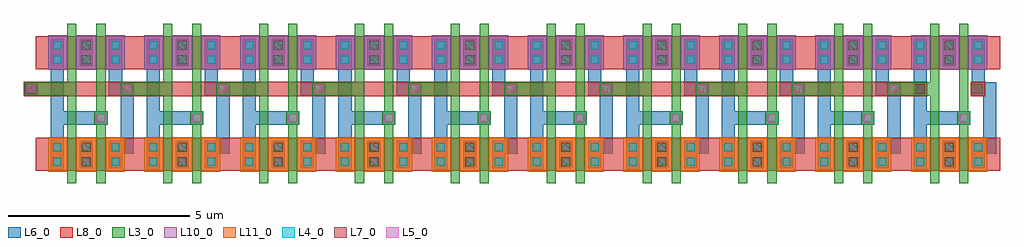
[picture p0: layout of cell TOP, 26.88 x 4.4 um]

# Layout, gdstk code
import gdstk
lib = gdstk.Library(unit=1e-6, precision=1e-09)
def R(c, l, rs):  # rectangles x0, y0, x1, y1
    for r in rs: c.add(gdstk.rectangle(r[:2], r[2:], *l))
def P(c, l, *ps):  # polygons
    for p in ps: c.add(gdstk.Polygon(p, *l))
L3_0 = (3, 0)
L4_0 = (4, 0)
L5_0 = (5, 0)
L6_0 = (6, 0)
L7_0 = (7, 0)
L8_0 = (8, 0)
L10_0 = (10, 0)
L11_0 = (11, 0)

trans = lib.new_cell('TRANS')

d_pmos = lib.new_cell('D$PMOS')

d_pmos_1 = lib.new_cell('D$PMOS$1')

d_nmos = lib.new_cell('D$NMOS')

d_nmos_1 = lib.new_cell('D$NMOS$1')

inv2 = lib.new_cell('INV2')
inv2.add(gdstk.Reference(trans, (-0.4,0)))
inv2.add(gdstk.Reference(trans, (-0.4,2.8)))
inv2.add(gdstk.Reference(trans, (0.4,0), x_reflection=True))
inv2.add(gdstk.Reference(trans, (0.4,2.8), x_reflection=True))
inv2.add(gdstk.Reference(d_pmos, (-0.4,2.8)))
inv2.add(gdstk.Reference(d_pmos_1, (0.4,2.8)))
inv2.add(gdstk.Reference(d_nmos, (-0.4,0)))
inv2.add(gdstk.Reference(d_nmos_1, (0.4,0)))

circuit_trans = lib.new_cell('CIRCUIT_TRANS')
R(circuit_trans, L3_0, [(-0.125,-0.8,0.125,0.8)])

device_d_pmos_1 = lib.new_cell('DEVICE_D$PMOS$1')
R(device_d_pmos_1, L3_0, [(-0.125,-0.475,0.125,0.475)])

device_d_nmos_1 = lib.new_cell('DEVICE_D$NMOS$1')
R(device_d_nmos_1, L3_0, [(-0.125,-0.475,0.125,0.475)])

circuit_trans_1 = lib.new_cell('CIRCUIT_TRANS$1')
R(circuit_trans_1, L4_0, [(-0.51,-0.31,-0.29,-0.09), (-0.51,0.09,-0.29,0.31)])
R(circuit_trans_1, L6_0, [(-0.58,-0.38,-0.22,0.38)])

device_d_pmos = lib.new_cell('DEVICE_D$PMOS')
R(device_d_pmos, L10_0, [(-0.65,-0.475,-0.125,0.475)])

device_d_nmos = lib.new_cell('DEVICE_D$NMOS')
R(device_d_nmos, L11_0, [(-0.65,-0.475,-0.125,0.475)])

circuit_inv2 = lib.new_cell('CIRCUIT_INV2')
R(circuit_inv2, L3_0, [(0.275,-0.8,0.525,0.8), (0.275,-0.25,0.525,2.25), (0.22,0.82,0.58,1.18), (0.275,2,0.525,3.6)])
R(circuit_inv2, L4_0, [(-0.91,-0.31,-0.69,-0.09), (-0.91,0.09,-0.69,0.31), (-0.91,2.49,-0.69,2.71), (-0.91,2.89,-0.69,3.11)])
R(circuit_inv2, L5_0, [(0.29,0.89,0.51,1.11)])
R(circuit_inv2, L6_0, [(-0.98,-0.42,-0.62,2.42), (-0.98,-0.38,-0.62,0.38), (-0.8,0.82,0.58,1.18), (-0.98,2.42,-0.62,3.18)])
R(circuit_inv2, L10_0, [(-1.05,2.325,-0.525,3.275)])
R(circuit_inv2, L11_0, [(-1.05,-0.475,-0.525,0.475)])
circuit_inv2.add(gdstk.Reference(circuit_trans, (0.4,2.8), x_reflection=True))
circuit_inv2.add(gdstk.Reference(device_d_pmos_1, (0.4,2.8)))
circuit_inv2.add(gdstk.Reference(circuit_trans, (0.4,0), x_reflection=True))
circuit_inv2.add(gdstk.Reference(device_d_nmos_1, (0.4,0)))
circuit_inv2.add(gdstk.Reference(circuit_trans_1, (-0.4,2.8)))
circuit_inv2.add(gdstk.Reference(device_d_pmos, (-0.4,2.8)))
circuit_inv2.add(gdstk.Reference(circuit_trans_1, (-0.4,0)))
circuit_inv2.add(gdstk.Reference(device_d_nmos, (-0.4,0)))

device_d_nmos_2 = lib.new_cell('DEVICE_D$NMOS$2')
R(device_d_nmos_2, L3_0, [(-0.125,-0.475,0.125,0.475)])

device_d_pmos_2 = lib.new_cell('DEVICE_D$PMOS$2')
R(device_d_pmos_2, L3_0, [(-0.125,-0.475,0.125,0.475)])

circuit_inv2_1 = lib.new_cell('CIRCUIT_INV2$1')
R(circuit_inv2_1, L3_0, [(-0.525,-0.8,-0.275,0.8), (-0.525,-0.25,-0.275,2.25), (-1.7,1.62,-0.4,1.98), (-0.525,2,-0.275,3.6)])
R(circuit_inv2_1, L5_0, [(-1.63,1.69,-1.41,1.91)])
circuit_inv2_1.add(gdstk.Reference(circuit_trans, (-0.4,0)))
circuit_inv2_1.add(gdstk.Reference(device_d_nmos_2, (-0.4,0)))
circuit_inv2_1.add(gdstk.Reference(circuit_trans, (-0.4,2.8)))
circuit_inv2_1.add(gdstk.Reference(device_d_pmos_2, (-0.4,2.8)))

circuit_trans_2 = lib.new_cell('CIRCUIT_TRANS$2')
R(circuit_trans_2, L4_0, [(0.29,-0.31,0.51,-0.09), (0.29,0.09,0.51,0.31)])
R(circuit_trans_2, L6_0, [(0.22,-0.38,0.58,0.38)])

device_d_pmos_1_1 = lib.new_cell('DEVICE_D$PMOS$1$1')
R(device_d_pmos_1_1, L10_0, [(0.125,-0.475,0.65,0.475)])

device_d_nmos_1_1 = lib.new_cell('DEVICE_D$NMOS$1$1')
R(device_d_nmos_1_1, L11_0, [(0.125,-0.475,0.65,0.475)])

circuit_inv2_2 = lib.new_cell('CIRCUIT_INV2$2')
R(circuit_inv2_2, L4_0, [(0.69,-0.31,0.91,-0.09), (0.69,0.09,0.91,0.31), (0.69,2.49,0.91,2.71), (0.69,2.89,0.91,3.11)])
R(circuit_inv2_2, L6_0, [(0.62,-0.38,0.98,0.38), (0.62,2.42,0.98,3.18)])
P(circuit_inv2_2, L6_0, [(0.8,0.02),(0.8,0.38),(0.94,0.38),(0.94,1.62),(0.62,1.62),(0.62,2.42),(0.98,2.42),(0.98,1.98),(1.3,1.98),(1.3,0.02)])
R(circuit_inv2_2, L10_0, [(0.525,2.325,1.05,3.275)])
R(circuit_inv2_2, L11_0, [(0.525,-0.475,1.05,0.475)])
circuit_inv2_2.add(gdstk.Reference(circuit_trans_2, (0.4,2.8), x_reflection=True))
circuit_inv2_2.add(gdstk.Reference(device_d_pmos_1_1, (0.4,2.8)))
circuit_inv2_2.add(gdstk.Reference(circuit_trans_2, (0.4,0), x_reflection=True))
circuit_inv2_2.add(gdstk.Reference(device_d_nmos_1_1, (0.4,0)))

net_fb_osc = lib.new_cell('NET_FB,OSC')
R(net_fb_osc, L6_0, [(-1.7,1.62,-1.34,1.98)])
R(net_fb_osc, L7_0, [(-1.645,1.675,-1.395,1.925), (22.835,1.675,23.085,1.925), (24.435,1.675,24.685,1.925)])
R(net_fb_osc, L8_0, [(-1.72,1.6,23.16,2), (24.36,1.6,24.76,2)])
net_fb_osc.add(gdstk.Reference(circuit_inv2, (23.76,0)))
net_fb_osc.add(gdstk.Reference(circuit_inv2_1, (0,0)))
net_fb_osc.add(gdstk.Reference(circuit_inv2_2, (23.76,0)))

device_d_nmos_3 = lib.new_cell('DEVICE_D$NMOS$3')
R(device_d_nmos_3, L11_0, [(0.125,-0.475,0.675,0.475)])

device_d_nmos_1_2 = lib.new_cell('DEVICE_D$NMOS$1$2')
R(device_d_nmos_1_2, L11_0, [(-0.675,-0.475,-0.125,0.475)])

circuit_inv2_3 = lib.new_cell('CIRCUIT_INV2$3')
R(circuit_inv2_3, L4_0, [(-0.11,-0.31,0.11,-0.09), (-0.11,-0.31,0.11,-0.09), (-0.11,0.09,0.11,0.31), (-0.11,0.09,0.11,0.31)])
R(circuit_inv2_3, L6_0, [(-0.18,-0.38,0.18,0.38), (-0.18,-0.38,0.18,0.38)])
R(circuit_inv2_3, L7_0, [(-0.125,-0.325,0.125,-0.075), (-0.125,0.075,0.125,0.325)])
R(circuit_inv2_3, L8_0, [(-1.4,-0.45,1.4,0.45)])
R(circuit_inv2_3, L11_0, [(-0.275,-0.475,0.275,0.475)])
circuit_inv2_3.add(gdstk.Reference(circuit_trans_2, (-0.4,0)))
circuit_inv2_3.add(gdstk.Reference(circuit_trans_1, (0.4,0), x_reflection=True))
circuit_inv2_3.add(gdstk.Reference(device_d_nmos_3, (-0.4,0)))
circuit_inv2_3.add(gdstk.Reference(device_d_nmos_1_2, (0.4,0)))

device_d_pmos_3 = lib.new_cell('DEVICE_D$PMOS$3')
R(device_d_pmos_3, L10_0, [(0.125,-0.475,0.675,0.475)])

device_d_pmos_1_2 = lib.new_cell('DEVICE_D$PMOS$1$2')
R(device_d_pmos_1_2, L10_0, [(-0.675,-0.475,-0.125,0.475)])

circuit_inv2_4 = lib.new_cell('CIRCUIT_INV2$4')
R(circuit_inv2_4, L4_0, [(-0.11,2.49,0.11,2.71), (-0.11,2.49,0.11,2.71), (-0.11,2.89,0.11,3.11), (-0.11,2.89,0.11,3.11)])
R(circuit_inv2_4, L6_0, [(-0.18,2.42,0.18,3.18), (-0.18,2.42,0.18,3.18)])
R(circuit_inv2_4, L7_0, [(-0.125,2.475,0.125,2.725), (-0.125,2.875,0.125,3.125)])
R(circuit_inv2_4, L8_0, [(-1.4,2.35,1.4,3.25)])
R(circuit_inv2_4, L10_0, [(-0.275,2.325,0.275,3.275)])
circuit_inv2_4.add(gdstk.Reference(circuit_trans_1, (0.4,2.8), x_reflection=True))
circuit_inv2_4.add(gdstk.Reference(circuit_trans_2, (-0.4,2.8)))
circuit_inv2_4.add(gdstk.Reference(device_d_pmos_3, (-0.4,2.8)))
circuit_inv2_4.add(gdstk.Reference(device_d_pmos_1_2, (0.4,2.8)))

net_vdd_vss = lib.new_cell('NET_VDD,VSS')
net_vdd_vss.add(gdstk.Reference(circuit_inv2_3, (23.76,0)))
net_vdd_vss.add(gdstk.Reference(circuit_inv2_3, (21.12,0)))
net_vdd_vss.add(gdstk.Reference(circuit_inv2_3, (18.48,0)))
net_vdd_vss.add(gdstk.Reference(circuit_inv2_3, (15.84,0)))
net_vdd_vss.add(gdstk.Reference(circuit_inv2_3, (13.2,0)))
net_vdd_vss.add(gdstk.Reference(circuit_inv2_3, (10.56,0)))
net_vdd_vss.add(gdstk.Reference(circuit_inv2_3, (7.92,0)))
net_vdd_vss.add(gdstk.Reference(circuit_inv2_3, (5.28,0)))
net_vdd_vss.add(gdstk.Reference(circuit_inv2_3, (2.64,0)))
net_vdd_vss.add(gdstk.Reference(circuit_inv2_3, (0,0)))
net_vdd_vss.add(gdstk.Reference(circuit_inv2_4, (23.76,0)))
net_vdd_vss.add(gdstk.Reference(circuit_inv2_4, (21.12,0)))
net_vdd_vss.add(gdstk.Reference(circuit_inv2_4, (18.48,0)))
net_vdd_vss.add(gdstk.Reference(circuit_inv2_4, (15.84,0)))
net_vdd_vss.add(gdstk.Reference(circuit_inv2_4, (13.2,0)))
net_vdd_vss.add(gdstk.Reference(circuit_inv2_4, (10.56,0)))
net_vdd_vss.add(gdstk.Reference(circuit_inv2_4, (7.92,0)))
net_vdd_vss.add(gdstk.Reference(circuit_inv2_4, (5.28,0)))
net_vdd_vss.add(gdstk.Reference(circuit_inv2_4, (2.64,0)))
net_vdd_vss.add(gdstk.Reference(circuit_inv2_4, (0,0)))

net__i46 = lib.new_cell('NET_$I46')
net__i46.add(gdstk.Reference(circuit_inv2, (21.12,0)))

net__i45 = lib.new_cell('NET_$I45')
net__i45.add(gdstk.Reference(circuit_inv2, (18.48,0)))

net__i44 = lib.new_cell('NET_$I44')
net__i44.add(gdstk.Reference(circuit_inv2, (15.84,0)))

net__i43 = lib.new_cell('NET_$I43')
net__i43.add(gdstk.Reference(circuit_inv2, (13.2,0)))

net__i42 = lib.new_cell('NET_$I42')
net__i42.add(gdstk.Reference(circuit_inv2, (10.56,0)))

net__i41 = lib.new_cell('NET_$I41')
net__i41.add(gdstk.Reference(circuit_inv2, (7.92,0)))

net__i40 = lib.new_cell('NET_$I40')
net__i40.add(gdstk.Reference(circuit_inv2, (5.28,0)))

net__i39 = lib.new_cell('NET_$I39')
net__i39.add(gdstk.Reference(circuit_inv2, (2.64,0)))

net__i38 = lib.new_cell('NET_$I38')
net__i38.add(gdstk.Reference(circuit_inv2, (0,0)))

net__i19 = lib.new_cell('NET_$I19')
net__i19.add(gdstk.Reference(circuit_inv2_2, (0,0)))
net__i19.add(gdstk.Reference(circuit_inv2_1, (2.64,0)))

net__i18 = lib.new_cell('NET_$I18')
net__i18.add(gdstk.Reference(circuit_inv2_1, (23.76,0)))
net__i18.add(gdstk.Reference(circuit_inv2_2, (21.12,0)))

net__i17 = lib.new_cell('NET_$I17')
net__i17.add(gdstk.Reference(circuit_inv2_1, (21.12,0)))
net__i17.add(gdstk.Reference(circuit_inv2_2, (18.48,0)))

net__i16 = lib.new_cell('NET_$I16')
net__i16.add(gdstk.Reference(circuit_inv2_1, (18.48,0)))
net__i16.add(gdstk.Reference(circuit_inv2_2, (15.84,0)))

net__i15 = lib.new_cell('NET_$I15')
net__i15.add(gdstk.Reference(circuit_inv2_1, (15.84,0)))
net__i15.add(gdstk.Reference(circuit_inv2_2, (13.2,0)))

net__i14 = lib.new_cell('NET_$I14')
net__i14.add(gdstk.Reference(circuit_inv2_1, (13.2,0)))
net__i14.add(gdstk.Reference(circuit_inv2_2, (10.56,0)))

net__i13 = lib.new_cell('NET_$I13')
net__i13.add(gdstk.Reference(circuit_inv2_1, (10.56,0)))
net__i13.add(gdstk.Reference(circuit_inv2_2, (7.92,0)))

net__i12 = lib.new_cell('NET_$I12')
net__i12.add(gdstk.Reference(circuit_inv2_1, (7.92,0)))
net__i12.add(gdstk.Reference(circuit_inv2_2, (5.28,0)))

net__i11 = lib.new_cell('NET_$I11')
net__i11.add(gdstk.Reference(circuit_inv2_1, (5.28,0)))
net__i11.add(gdstk.Reference(circuit_inv2_2, (2.64,0)))

top = lib.new_cell('TOP')
top.add(gdstk.Reference(inv2, (0,0)))
top.add(gdstk.Reference(inv2, (2.64,0)))
top.add(gdstk.Reference(inv2, (5.28,0)))
top.add(gdstk.Reference(inv2, (7.92,0)))
top.add(gdstk.Reference(inv2, (10.56,0)))
top.add(gdstk.Reference(inv2, (13.2,0)))
top.add(gdstk.Reference(inv2, (15.84,0)))
top.add(gdstk.Reference(inv2, (18.48,0)))
top.add(gdstk.Reference(inv2, (21.12,0)))
top.add(gdstk.Reference(inv2, (23.76,0)))
top.add(gdstk.Reference(net_fb_osc, (0,0)))
top.add(gdstk.Reference(net_vdd_vss, (0,0)))
top.add(gdstk.Reference(net__i46, (0,0)))
top.add(gdstk.Reference(net__i45, (0,0)))
top.add(gdstk.Reference(net__i44, (0,0)))
top.add(gdstk.Reference(net__i43, (0,0)))
top.add(gdstk.Reference(net__i42, (0,0)))
top.add(gdstk.Reference(net__i41, (0,0)))
top.add(gdstk.Reference(net__i40, (0,0)))
top.add(gdstk.Reference(net__i39, (0,0)))
top.add(gdstk.Reference(net__i38, (0,0)))
top.add(gdstk.Reference(net__i19, (0,0)))
top.add(gdstk.Reference(net__i18, (0,0)))
top.add(gdstk.Reference(net__i17, (0,0)))
top.add(gdstk.Reference(net__i16, (0,0)))
top.add(gdstk.Reference(net__i15, (0,0)))
top.add(gdstk.Reference(net__i14, (0,0)))
top.add(gdstk.Reference(net__i13, (0,0)))
top.add(gdstk.Reference(net__i12, (0,0)))
top.add(gdstk.Reference(net__i11, (0,0)))

lib.write_gds('TOP.gds')
